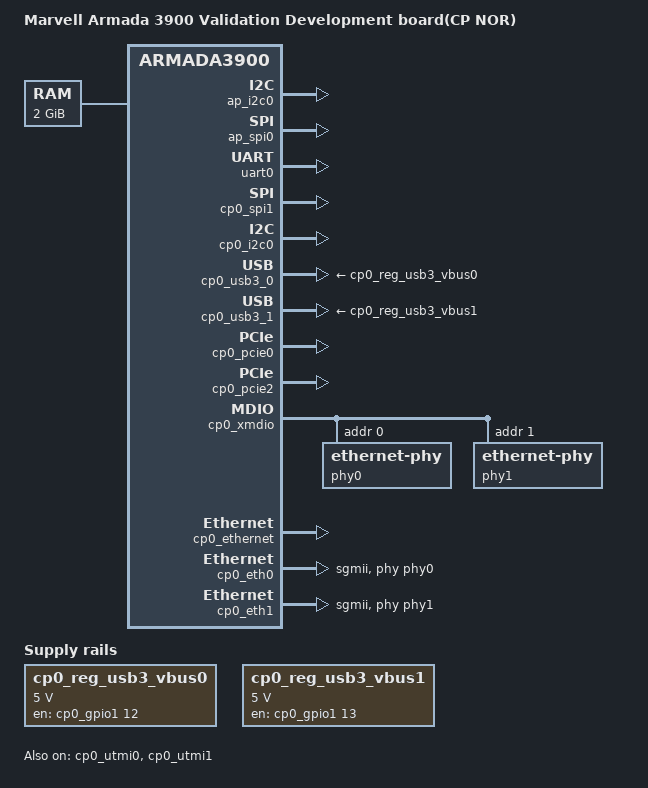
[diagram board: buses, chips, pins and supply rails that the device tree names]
/*
 * Copyright (C) 2017 Marvell Technology Group Ltd.
 *
 * This file is dual-licensed: you can use it either under the terms
 * of the GPLv2 or the X11 license, at your option. Note that this dual
 * licensing only applies to this file, and not this project as a
 * whole.
 *
 *  a) This library is free software; you can redistribute it and/or
 *     modify it under the terms of the GNU General Public License as
 *     published by the Free Software Foundation; either version 2 of the
 *     License, or (at your option) any later version.
 *
 *     This library is distributed in the hope that it will be useful,
 *     but WITHOUT ANY WARRANTY; without even the implied warranty of
 *     MERCHANTABILITY or FITNESS FOR A PARTICULAR PURPOSE.  See the
 *     GNU General Public License for more details.
 *
 * Or, alternatively,
 *
 *  b) Permission is hereby granted, free of charge, to any person
 *     obtaining a copy of this software and associated documentation
 *     files (the "Software"), to deal in the Software without
 *     restriction, including without limitation the rights to use,
 *     copy, modify, merge, publish, distribute, sublicense, and/or
 *     sell copies of the Software, and to permit persons to whom the
 *     Software is furnished to do so, subject to the following
 *     conditions:
 *
 *     The above copyright notice and this permission notice shall be
 *     included in all copies or substantial portions of the Software.
 *
 *     THE SOFTWARE IS PROVIDED "AS IS", WITHOUT WARRANTY OF ANY KIND,
 *     EXPRESS OR IMPLIED, INCLUDING BUT NOT LIMITED TO THE WARRANTIES
 *     OF MERCHANTABILITY, FITNESS FOR A PARTICULAR PURPOSE AND
 *     NONINFRINGEMENT. IN NO EVENT SHALL THE AUTHORS OR COPYRIGHT
 *     HOLDERS BE LIABLE FOR ANY CLAIM, DAMAGES OR OTHER LIABILITY,
 *     WHETHER IN AN ACTION OF CONTRACT, TORT OR OTHERWISE, ARISING
 *     FROM, OUT OF OR IN CONNECTION WITH THE SOFTWARE OR THE USE OR
 *     OTHER DEALINGS IN THE SOFTWARE.
 */

#include "armada-70x0.dtsi" /* include SoC device tree */
#include "armada-70x0-dev-info.dtsi"

/ {
	model = "Marvell Armada 3900 Validation Development board(CP NOR)";
	compatible = "marvell,armada7040", "marvell,armada-ap806-quad",
		     "marvell,armada-ap806", "marvell,armada3900-vd";

	aliases {
		i2c0 = &cp0_i2c0;
		spi0 = &ap_spi0;
		i2c1 = &ap_i2c0;
		spi1 = &cp0_spi1;
	};

	chosen {
		stdout-path = "serial0:115200n8";
	};

	memory@00000000 {
		device_type = "memory";
		reg = <0x0 0x0 0x0 0x80000000>;
	};

	cp0 {
		config-space {
			cp0_reg_usb3_vbus0: cp0_usb3_vbus@0 {
				compatible = "regulator-fixed";
				pinctrl-names = "default";
				pinctrl-0 = <&cp0_xhci0_vbus_pins>;
				regulator-name = "cp0-xhci0-vbus";
				regulator-min-microvolt = <5000000>;
				regulator-max-microvolt = <5000000>;
				startup-delay-us = <100000>;
				enable-active-high;
				regulator-force-boot-off;
				gpio = <&cp0_gpio1 12 GPIO_ACTIVE_HIGH>;
			};

			cp0_reg_usb3_vbus1: cp0_usb3_vbus@1 {
				compatible = "regulator-fixed";
				pinctrl-names = "default";
				pinctrl-0 = <&cp0_xhci1_vbus_pins>;
				regulator-name = "cp0-xhci1-vbus";
				regulator-min-microvolt = <5000000>;
				regulator-max-microvolt = <5000000>;
				startup-delay-us = <100000>;
				enable-active-high;
				regulator-force-boot-off;
				gpio = <&cp0_gpio1 13 GPIO_ACTIVE_HIGH>;
			};
		};
	};
};

/*
 * AP related configuration
 */
&ap_pinctl {
		/* MPP Bus:
		 * SPI   [0-3]
		 * I2C   [4-5]
		 * UART0 [11,19]
		 */
		/*   0 1 2 3 4 5 6 7 8 9 */
	pin-func = < 3 3 3 3 3 3 0 0 0 0
		     0 3 0 0 0 0 0 0 0 3 >;
};

&ap_i2c0 {
	pinctrl-names = "default";
	pinctrl-0 = <&ap_i2c0_pins>;
	status = "okay";
};

&ap_spi0 {
	status = "okay";
};

&uart0 {
	status = "okay";
};

&thermal {
	gain = <394>;
	offset = <128900>;
	divisor = <1000>;
};

/*
 * CP related configuration
 */
&cp0_pinctl {
		/* MPP Bus:
		 *   SPI1	[13-16]
		 *   SMI	[32,34]
		 *   XSMI	[35-36]
		 *   I2C0	[37-38]
		 *   USB	[44-45]
		 *   UART1	[46-47,49,58]
		 *   IHB	[56-57]
		 *   UART0	[59-62]
		 */
		/*   0   1   2   3   4   5   6   7   8   9 */
	pin-func = < 0   0   0   0   0   0   0   0   0   0
		     0   0   0   3   3   3   3   0   0   0
		     0   0   0   0   0   0   0   0   0   0
		     0   0   7   0   7   7   7   2   2   0
		     0   0   0   0   0   0   7   7   0   7
		     0   0   0   0   0   0   0   0   7   7
		     7   7   7>;
};

&cp0_spi1 {
	pinctrl-names = "default";
	pinctrl-0 = <&cp0_spi0_pins>;
	status = "okay";
};

&cp0_pinctl {
	cp0_xhci0_vbus_pins: cp0-xhci0-vbus-pins {
		marvell,pins = <44>;
		marvell,function = <0>;
	};

	cp0_xhci1_vbus_pins: cp0-xhci1-vbus-pins {
		marvell,pins = <45>;
		marvell,function = <0>;
	};

	cp0_mochi_reset_pins: cp0-mochi-reset-pins {
		marvell,pins = <56>;
		marvell,function = <0>;
	};

	cp0_mochi_enable_pins: cp0-mochi-enable-pins {
		marvell,pins = <57>;
		marvell,function = <0>;
	};
};

&cp0_i2c0 {
	pinctrl-names = "default";
	pinctrl-0 = <&cp0_i2c0_pins>;
	status = "okay";
};

&cp0_utmi0 {
	status = "okay";
};

&cp0_utmi1 {
	status = "okay";
};

&cp0_usb3_0 {
	status = "okay";
	vbus-supply = <&cp0_reg_usb3_vbus0>;
	vbus-disable-delay = <500>;
};

&cp0_usb3_1 {
	status = "okay";
	vbus-supply = <&cp0_reg_usb3_vbus1>;
	vbus-disable-delay = <500>;
};

&cp0_pcie0 {
	status = "okay";
	ranges =
		/* downstream I/O */
		<0x81000000 0 0xf7000000 0  0xf7000000 0 0x10000
		/* non-prefetchable memory */
		0x82000000 0 0xf6000000 0  0xf6000000 0 0xf00000>;
};

&cp0_pcie2 {
	status = "okay";
	ranges =
		/* downstream I/O */
		<0x81000000 0 0xf7020000 0  0xf7020000 0 0x10000
		/* non-prefetchable memory */
		0x82000000 0 0xf8000000 0  0xf8000000 0 0xf00000>;
};

&cp0_comphy {
	phy0 {
		phy-type = <COMPHY_TYPE_PEX0>;
		phy-speed = <COMPHY_SPEED_5G>;
	};

	phy1 {
		phy-type = <COMPHY_TYPE_PEX0>;
		phy-speed = <COMPHY_SPEED_5G>;
	};

	phy2 {
		phy-type = <COMPHY_TYPE_SGMII0>;
		phy-speed = <COMPHY_SPEED_1_25G>;
	};

	phy3 {
		phy-type = <COMPHY_TYPE_SGMII1>;
		phy-speed = <COMPHY_SPEED_1_25G>;
	};

	phy4 {
		phy-type = <COMPHY_TYPE_USB3_HOST1>;
		phy-speed = <COMPHY_SPEED_5G>;
	};

	phy5 {
		phy-type = <COMPHY_TYPE_PEX2>;
		phy-speed = <COMPHY_SPEED_5G>;
	};
};

&cp0_xmdio {
	status = "okay";
	phy0: ethernet-phy@0 {
		reg = <0>;
	};
	phy1: ethernet-phy@1 {
		reg = <1>;
	};
};

&cp0_ethernet {
	status = "okay";
};

&cp0_eth0 {
	status = "okay";
	phy-mode = "sgmii";
	phy = <&phy0>;
};

&cp0_eth1 {
	status = "okay";
	phy-mode = "sgmii";
	phy = <&phy1>;
};
